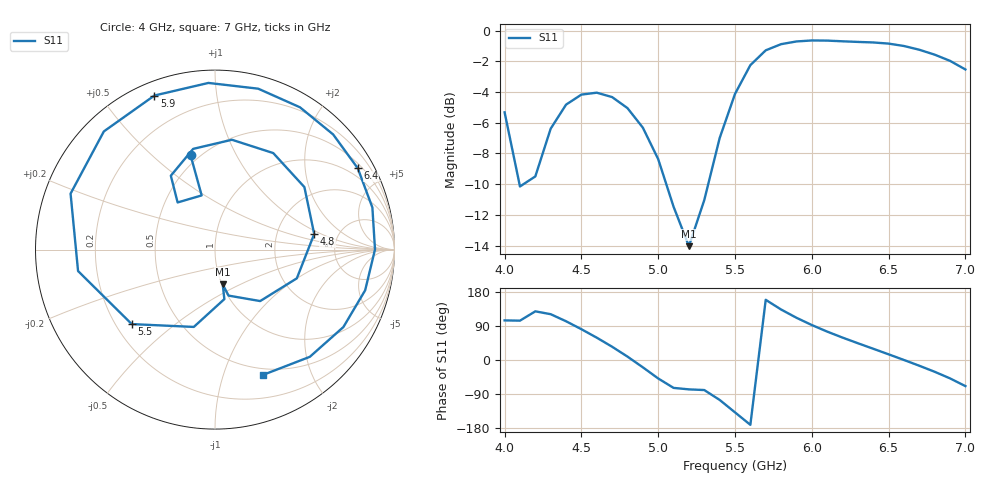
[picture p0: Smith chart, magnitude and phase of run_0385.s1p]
! Touchstone file exported from HFSS 2024.2.0
!  File:  C:/Users/wsak9/Desktop/Sim Fast/Widenad Patch/WP_AI_V1_sweep.aedt
!  Generated:  07:29:54 AM Oct 14, 2026
!  Design:  A1_model
!  Project:  WP_AI_V1_sweep
!  Setup:  Setup1
!  Solution:  Sweep
! Variables:
!  Air_gap = 2.61mm
!  Curve_Amp1 = 2.69
!  Curve_len1 = 1
!  Curve_pos = 12.62mm
!  Extra = 7.54mm
!  H_sub = 0.79mm
!  L_Patch = 21.24mm
!  L_Patch1 = 19.92mm
!  Sx = 0.88mm
!  Sy = 1.87mm
!  WS = 1.27mm
!  W_Patch = 15.73mm
!  W_Patch1 = 12.38mm
!Data is not renormalized
# GHz S MA
! Terminal data exported
! Port[1] = 1
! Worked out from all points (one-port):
!   31 points, 4 GHz to 7 GHz, reference per port
!   lowest |S11| = -14.0 dB at 5.2 GHz (marker M1), VSWR 1.50
!   |S11| at or under -10 dB: 4.097 GHz to 4.123 GHz (25.69 MHz wide, 0.625 % of centre); 5.053 GHz to 5.326 GHz (273 MHz wide, 5.26 % of centre)
!   S11 on the Smith chart (normalised r, x): 4 GHz: 0.45, +0.67; 4.8 GHz: 3.31, +0.84; 5.5 GHz: 0.26, -0.36; 5.9 GHz: 0.06, +0.68; 6.4 GHz: 0.65, +3.67; 7 GHz: 0.43, -1.37
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4  0.5421 104.5
4.1  0.3109 103.8
4.2  0.3352 128.4
4.3  0.4795 120.9
4.4  0.5743 102.2
4.5  0.6192 81.2
4.6  0.6281 58.9
4.7  0.6077 35.0
4.8  0.5595 8.9
4.9  0.4833 -19.3
5  0.3816 -48.7
5.1  0.2671 -73.6
5.2  0.1987 -77.5
5.3  0.2807 -79.3
5.4  0.4467 -105.3
5.5  0.6224 -138.2
5.6  0.7723 -171.1
5.7  0.863 158.8
5.8  0.9039 133.2
5.9  0.9224 111.5
6  0.9293 92.3
6.1  0.9283 75.0
6.3  0.9192 44.3
6.4  0.9155 29.7
6.6  0.8915 0.1
6.7  0.8668 -15.2
6.9  0.7975 -48.5
7  0.7476 -68.9
